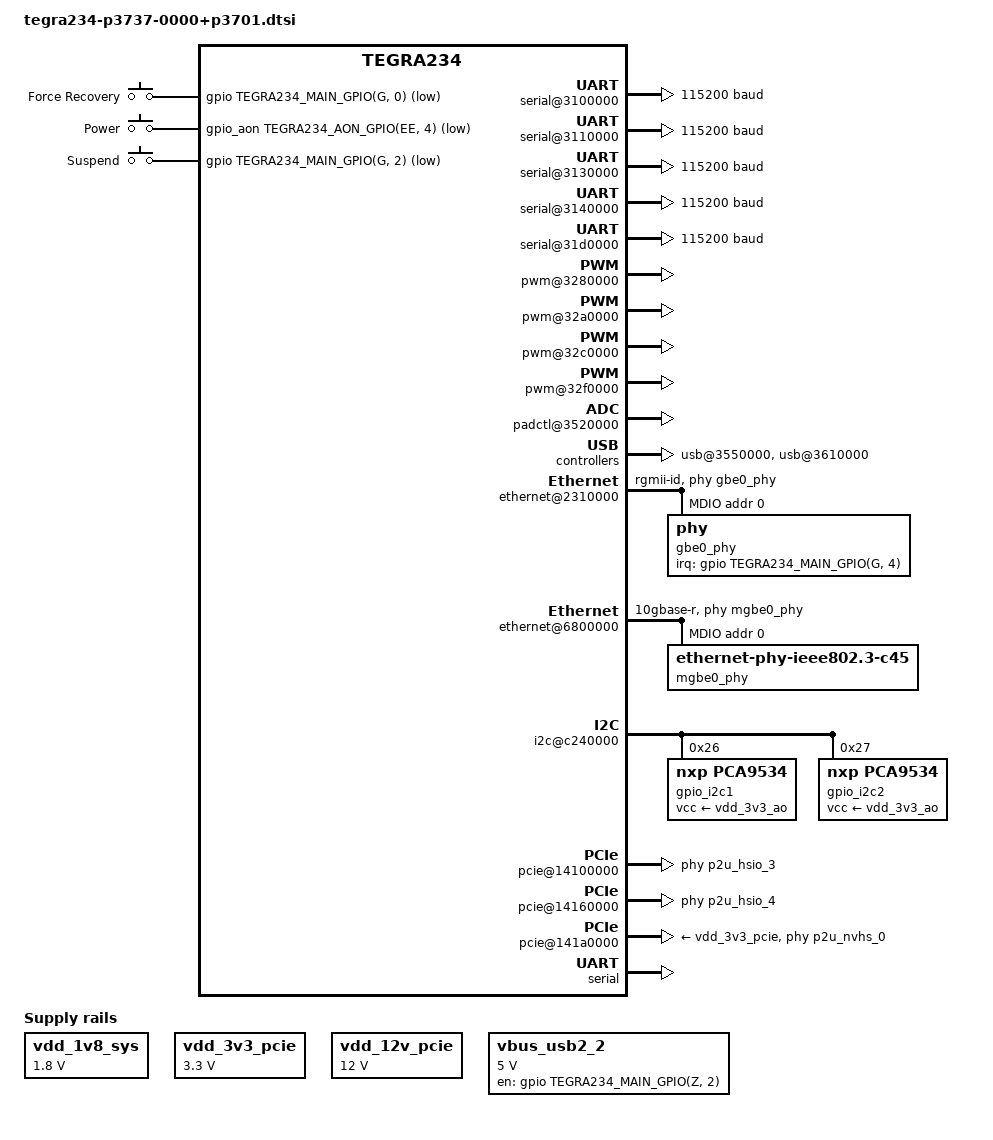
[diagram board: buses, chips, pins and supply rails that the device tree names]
// SPDX-License-Identifier: GPL-2.0
//
// Astute Systems GXA-1 carrier board device tree
// Ported from r36.4.4 GXA overlay to r39.2 layout.
//
// This file replaces the NVIDIA p3737 Orin devkit dtsi.  It is only valid for
// the Astute Systems GXA-1 carrier + Jetson AGX Orin p3701-0008 module.
//
// Kept from stock: gpio-keys, HDA, PCIe controllers, xHCI/USB2 stack, MGBE 10G.
// Removed vs stock: sound (RT5640 codec), pwm-fan, cypress typec, module EEPROM.
// Added vs stock: PCA9534 GPIO expanders (RS-485/CAN mode select), 1G EQoS RGMII PHY,
//                 vbus_usb2_2 regulator, UARTB/UARTD serial aliases.

#include <dt-bindings/clock/tegra234-clock.h>
#include <dt-bindings/gpio/tegra234-gpio.h>
#include <dt-bindings/input/linux-event-codes.h>
#include <dt-bindings/input/gpio-keys.h>

/ {
	aliases {
		serial0 = &tcu;
	};

	chosen {
		bootargs = "console=ttyTCU0,115200n8";
		stdout-path = "serial0:115200n8";
	};

	bus@0 {
		serial@3100000 {
			compatible = "nvidia,tegra194-hsuart";
			reset-names = "serial";
			current-speed = <115200>;
			status = "okay";
		};

		serial@3110000 {
			current-speed = <115200>;
			status = "okay";
		};

		serial@3130000 {
			current-speed = <115200>;
			status = "okay";
		};

		serial@3140000 {
			current-speed = <115200>;
			status = "okay";
		};

		serial@31d0000 {
			current-speed = <115200>;
			status = "okay";
		};

		pwm@3280000 {
			status = "okay";
		};

		pwm@32a0000 {
			assigned-clocks = <&bpmp TEGRA234_CLK_PWM3>;
			assigned-clock-parents = <&bpmp TEGRA234_CLK_PLLP_OUT0>;
			status = "okay";
		};

		pwm@32c0000 {
			status = "okay";
		};

		pwm@32f0000 {
			status = "okay";
		};

		/* mmc@3400000 (uSD) intentionally omitted -- GXA-1 has no SD slot */

		hda@3510000 {
			nvidia,model = "NVIDIA Jetson AGX Orin HDA";
			status = "okay";
		};

		padctl@3520000 {
			status = "okay";

			pads {
				usb2 {
					lanes {
						usb2-0 {
							nvidia,function = "xusb";
							status = "okay"; /* usb debug */
						};

						usb2-1 {
							nvidia,function = "xusb";
							status = "okay"; /* goes to usb hub */
						};

						usb2-2 {
							nvidia,function = "xusb";
							status = "okay"; /* standalone usb port */
						};

						usb2-3 {
							nvidia,function = "xusb";
							status = "disabled";
						};
					};
				};

				usb3 {
					lanes {
						usb3-0 {
							nvidia,function = "xusb";
							status = "disabled";
						};

						usb3-1 {
							nvidia,function = "xusb";
							status = "okay"; /* goes to usb hub */
						};

						usb3-2 {
							nvidia,function = "xusb";
							status = "disabled";
						};
					};
				};
			};

			ports {
				usb2-0 {
					mode = "otg";
					usb-role-switch;
					vbus-supply = <&vdd_5v0_sys>;
					status = "okay"; /* usb debug */
				};

				usb2-1 {
					mode = "host";
					vbus-supply = <&vdd_5v0_sys>;
					status = "okay"; /* goes to usb hub */
				};

				usb2-2 {
					mode = "host";
					vbus-supply = <&vbus_usb2_2>;
					status = "okay"; /* standalone usb port */
				};

				usb2-3 {
					mode = "host";
					vbus-supply = <&vdd_5v0_sys>;
					status = "disabled";
				};

				usb3-0 {
					nvidia,usb2-companion = <3>;
					status = "disabled";
				};

				usb3-1 {
					nvidia,usb2-companion = <1>;
					status = "okay";
				};

				usb3-2 {
					nvidia,usb2-companion = <2>;
					status = "disabled";
				};
			};
		};

		usb@3550000 {
			status = "okay";

			phys = <&{/bus@0/padctl@3520000/pads/usb2/lanes/usb2-1}>,
			       <&{/bus@0/padctl@3520000/pads/usb3/lanes/usb3-1}>;
			phy-names = "usb2-1", "usb3-1";
		};

		usb@3610000 {
			status = "okay";

			phys = <&{/bus@0/padctl@3520000/pads/usb2/lanes/usb2-0}>,
			       <&{/bus@0/padctl@3520000/pads/usb2/lanes/usb2-1}>,
			       <&{/bus@0/padctl@3520000/pads/usb2/lanes/usb2-2}>,
			       <&{/bus@0/padctl@3520000/pads/usb2/lanes/usb2-3}>,
			       <&{/bus@0/padctl@3520000/pads/usb3/lanes/usb3-0}>,
			       <&{/bus@0/padctl@3520000/pads/usb3/lanes/usb3-1}>,
			       <&{/bus@0/padctl@3520000/pads/usb3/lanes/usb3-2}>;
			phy-names = "usb2-0", "usb2-1", "usb2-2", "usb2-3",
				    "usb3-0", "usb3-1", "usb3-2";
		};

		/* 1G EQoS on GXA-1 uses an RGMII PHY on gpio(G,4) IRQ / gpio(G,5) reset */
		ethernet@2310000 {
			status = "okay";
			nvidia,mac-addr-idx = <0>;
			nvidia,max-platform-mtu = <8000>;
			nvidia,pause_frames = <0>;
			phy-handle = <&gbe0_phy>;
			phy-mode = "rgmii-id";

			mdio {
				compatible = "nvidia,eqos-mdio";
				#address-cells = <1>;
				#size-cells = <0>;

				gbe0_phy: phy@0 {
					reg = <0>;
					nvidia,phy-rst-pdelay-msec = <224>;
					nvidia,phy-rst-duration-usec = <10000>;
					interrupt-parent = <&gpio>;
					interrupts = <TEGRA234_MAIN_GPIO(G, 4) IRQ_TYPE_LEVEL_LOW>;
				};
			};
		};

		ethernet@6800000 {
			status = "okay";

			phy-handle = <&mgbe0_phy>;
			phy-mode = "10gbase-r";
			nvidia,phy-reset-gpio = <&gpio TEGRA234_MAIN_GPIO(Y, 1) 0>;

			mdio {
				#address-cells = <1>;
				#size-cells = <0>;

				mgbe0_phy: phy@0 {
					compatible = "ethernet-phy-ieee802.3-c45";
					reg = <0x0>;

					#phy-cells = <0>;
				};
			};
		};

		/* PCA9534 GPIO expanders control RS-485 term/duplex and CAN term/standby */
		i2c@c240000 {
			status = "okay";

			gpio_i2c1: gpio@26 {
				compatible = "nxp,pca9534";
				reg = <0x26>;
				vcc-supply = <&vdd_3v3_ao>;
				gpio-controller;
				#gpio-cells = <2>;
				gpio-line-names = "485term_4", "485term_3",
						  "485term_2", "485term_1",
						  "can0_term", "can0_stdby",
						  "can1_term", "can1_stdby";
			};

			gpio_i2c2: gpio@27 {
				compatible = "nxp,pca9534";
				reg = <0x27>;
				vcc-supply = <&vdd_3v3_ao>;
				gpio-controller;
				#gpio-cells = <2>;
				gpio-line-names = "hduplex_4", "485en_4",
						  "hduplex_3", "485en_3",
						  "hduplex_2", "485en_2",
						  "hduplex_1", "485en_1";
			};
		};

		pcie@14100000 {
			status = "okay";

			vddio-pex-ctl-supply = <&vdd_1v8_ao>;

			phys = <&p2u_hsio_3>;
			phy-names = "p2u-0";
		};

		pcie@14160000 {
			status = "okay";

			vddio-pex-ctl-supply = <&vdd_1v8_ao>;

			phys = <&p2u_hsio_4>, <&p2u_hsio_5>, <&p2u_hsio_6>,
			       <&p2u_hsio_7>;
			phy-names = "p2u-0", "p2u-1", "p2u-2", "p2u-3";
		};

		pcie@141a0000 {
			status = "okay";

			vddio-pex-ctl-supply = <&vdd_1v8_ls>;
			vpcie3v3-supply = <&vdd_3v3_pcie>;
			vpcie12v-supply = <&vdd_12v_pcie>;

			phys = <&p2u_nvhs_0>, <&p2u_nvhs_1>, <&p2u_nvhs_2>,
			       <&p2u_nvhs_3>, <&p2u_nvhs_4>, <&p2u_nvhs_5>,
			       <&p2u_nvhs_6>, <&p2u_nvhs_7>;
			phy-names = "p2u-0", "p2u-1", "p2u-2", "p2u-3", "p2u-4",
				    "p2u-5", "p2u-6", "p2u-7";
		};

		pcie-ep@141a0000 {
			status = "disabled";

			vddio-pex-ctl-supply = <&vdd_1v8_ls>;

			reset-gpios = <&gpio TEGRA234_MAIN_GPIO(AF, 1) GPIO_ACTIVE_LOW>;

			nvidia,refclk-select-gpios = <&gpio_aon
						      TEGRA234_AON_GPIO(AA, 4)
						      GPIO_ACTIVE_HIGH>;

			phys = <&p2u_nvhs_0>, <&p2u_nvhs_1>, <&p2u_nvhs_2>,
			       <&p2u_nvhs_3>, <&p2u_nvhs_4>, <&p2u_nvhs_5>,
			       <&p2u_nvhs_6>, <&p2u_nvhs_7>;
			phy-names = "p2u-0", "p2u-1", "p2u-2", "p2u-3", "p2u-4",
				    "p2u-5", "p2u-6", "p2u-7";
		};
	};

	gpio-keys {
		compatible = "gpio-keys";
		status = "okay";

		key-force-recovery {
			label = "Force Recovery";
			gpios = <&gpio TEGRA234_MAIN_GPIO(G, 0) GPIO_ACTIVE_LOW>;
			linux,input-type = <EV_KEY>;
			linux,code = <BTN_1>;
		};

		key-power {
			label = "Power";
			gpios = <&gpio_aon TEGRA234_AON_GPIO(EE, 4) GPIO_ACTIVE_LOW>;
			linux,input-type = <EV_KEY>;
			linux,code = <KEY_POWER>;
			wakeup-event-action = <EV_ACT_ASSERTED>;
			wakeup-source;
		};

		key-suspend {
			label = "Suspend";
			gpios = <&gpio TEGRA234_MAIN_GPIO(G, 2) GPIO_ACTIVE_LOW>;
			linux,input-type = <EV_KEY>;
			linux,code = <KEY_SLEEP>;
		};
	};

	serial {
		status = "okay";
	};

	thermal-zones {
		tj-thermal {
			cooling-maps {
				map-active-0 {
					trip = <&tj_trip_active0>;
				};

				map-active-1 {
					trip = <&tj_trip_active1>;
				};
			};
		};
	};

	vdd_1v8_sys: regulator-vdd-1v8-sys {
		compatible = "regulator-fixed";
		regulator-name = "VDD_1V8_SYS";
		regulator-min-microvolt = <1800000>;
		regulator-max-microvolt = <1800000>;
		regulator-always-on;
	};

	vdd_3v3_pcie: regulator-vdd-3v3-pcie {
		compatible = "regulator-fixed";
		regulator-name = "VDD_3V3_PCIE";
		regulator-min-microvolt = <3300000>;
		regulator-max-microvolt = <3300000>;
		regulator-always-on;
	};

	vdd_12v_pcie: regulator-vdd-12v-pcie {
		compatible = "regulator-fixed";
		regulator-name = "VDD_12V_PCIE";
		regulator-min-microvolt = <12000000>;
		regulator-max-microvolt = <12000000>;
		regulator-always-on;
	};

	vbus_usb2_2: regulator_vbus_usb2_2 {
		compatible = "regulator-fixed";
		regulator-name = "vbus_usb2_2";
		regulator-min-microvolt = <5000000>;
		regulator-max-microvolt = <5000000>;
		gpio = <&gpio TEGRA234_MAIN_GPIO(Z, 2) GPIO_ACTIVE_HIGH>;
		gpio-open-drain;
		enable-active-high;
	};
};
